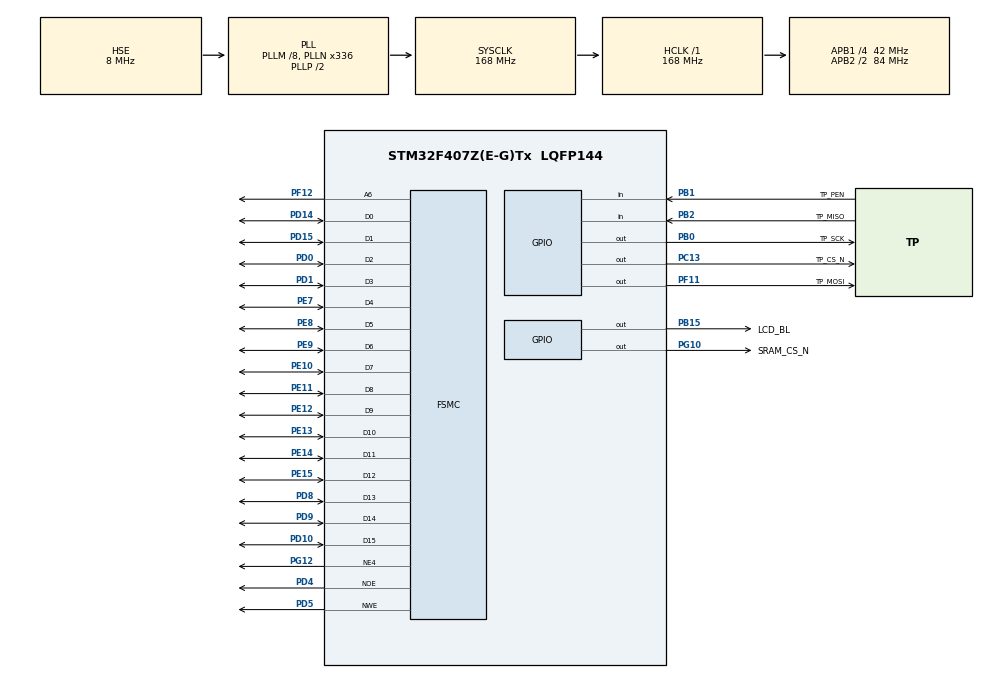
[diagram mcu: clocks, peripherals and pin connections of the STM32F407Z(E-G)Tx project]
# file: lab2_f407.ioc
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FSMC.BusTurnAroundDuration1=0
FSMC.DataSetupTime1=96
FSMC.ExtendedBusTurnAroundDuration1=0
FSMC.ExtendedDataSetupTime1=15
FSMC.ExtendedMode1=FSMC_EXTENDED_MODE_ENABLE
Mcu.Family=STM32F4
Mcu.Name=STM32F407Z(E-G)Tx
Mcu.Package=LQFP144
NVIC.PriorityGroup=NVIC_PRIORITYGROUP_4
PA13.Mode=Serial_Wire
PA13.Signal=SYS_JTMS-SWDIO
PA14.Mode=Serial_Wire
PA14.Signal=SYS_JTCK-SWCLK
PB0.GPIO_Label=TP_SCK
PB0.Signal=GPIO_Output
PB1.GPIO_Label=TP_PEN
PB1.GPIO_PuPd=GPIO_PULLUP
PB1.Signal=GPIO_Input
PB15.GPIO_Label=LCD_BL
PB15.Signal=GPIO_Output
PB2.GPIO_Label=TP_MISO
PB2.Signal=GPIO_Input
PC13-ANTI_TAMP.GPIO_Label=TP_CS_N
PC13-ANTI_TAMP.PinState=GPIO_PIN_SET
PC13-ANTI_TAMP.Signal=GPIO_Output
PD0.Signal=FSMC_D2_DA2
PD1.Signal=FSMC_D3_DA3
PD10.Signal=FSMC_D15_DA15
PD14.Signal=FSMC_D0_DA0
PD15.Signal=FSMC_D1_DA1
PD4.Signal=FSMC_NOE
PD5.Signal=FSMC_NWE
PD8.Signal=FSMC_D13_DA13
PD9.Signal=FSMC_D14_DA14
PE10.Signal=FSMC_D7_DA7
PE11.Signal=FSMC_D8_DA8
PE12.Signal=FSMC_D9_DA9
PE13.Signal=FSMC_D10_DA10
PE14.Signal=FSMC_D11_DA11
PE15.Signal=FSMC_D12_DA12
PE7.Signal=FSMC_D4_DA4
PE8.Signal=FSMC_D5_DA5
PE9.Signal=FSMC_D6_DA6
PF11.GPIO_Label=TP_MOSI
PF11.Signal=GPIO_Output
PF12.Signal=FSMC_A6
PG10.GPIO_Label=SRAM_CS_N
PG10.PinState=GPIO_PIN_SET
PG10.Signal=GPIO_Output
PG12.Mode=NorPsramChipSelect4_1
PG12.Signal=FSMC_NE4
PH0-OSC_IN.Mode=HSE-External-Oscillator
PH0-OSC_IN.Signal=RCC_OSC_IN
PH1-OSC_OUT.Mode=HSE-External-Oscillator
PH1-OSC_OUT.Signal=RCC_OSC_OUT
ProjectManager.HeapSize=0x200
ProjectManager.StackSize=0x400
ProjectManager.TargetToolchain=CMake
RCC.48MHZClocksFreq_Value=48000000
RCC.AHBFreq_Value=168000000
RCC.APB1CLKDivider=RCC_HCLK_DIV4
RCC.APB1Freq_Value=42000000
RCC.APB1TimFreq_Value=84000000
RCC.APB2CLKDivider=RCC_HCLK_DIV2
RCC.APB2Freq_Value=84000000
RCC.APB2TimFreq_Value=168000000
RCC.CortexFreq_Value=168000000
RCC.HCLKFreq_Value=168000000
RCC.HSE_VALUE=8000000
RCC.HSI_VALUE=16000000
RCC.LSE_VALUE=32768
RCC.PLLM=8
RCC.PLLN=336
RCC.PLLQ=7
RCC.PLLSourceVirtual=RCC_PLLSOURCE_HSE
RCC.SYSCLKFreq_VALUE=168000000
RCC.SYSCLKSource=RCC_SYSCLKSOURCE_PLLCLK
RCC.VCOOutputFreq_Value=336000000
SH.FSMC_A6.0=FSMC_A6,A6_1
SH.FSMC_D0_DA0.0=FSMC_D0,16b-d1
SH.FSMC_D10_DA10.0=FSMC_D10,16b-d1
SH.FSMC_D11_DA11.0=FSMC_D11,16b-d1
SH.FSMC_D12_DA12.0=FSMC_D12,16b-d1
SH.FSMC_D13_DA13.0=FSMC_D13,16b-d1
SH.FSMC_D14_DA14.0=FSMC_D14,16b-d1
SH.FSMC_D15_DA15.0=FSMC_D15,16b-d1
SH.FSMC_D1_DA1.0=FSMC_D1,16b-d1
SH.FSMC_D2_DA2.0=FSMC_D2,16b-d1
SH.FSMC_D3_DA3.0=FSMC_D3,16b-d1
SH.FSMC_D4_DA4.0=FSMC_D4,16b-d1
SH.FSMC_D5_DA5.0=FSMC_D5,16b-d1
SH.FSMC_D6_DA6.0=FSMC_D6,16b-d1
SH.FSMC_D7_DA7.0=FSMC_D7,16b-d1
SH.FSMC_D8_DA8.0=FSMC_D8,16b-d1
SH.FSMC_D9_DA9.0=FSMC_D9,16b-d1
SH.FSMC_NOE.0=FSMC_NOE,Lcd1
SH.FSMC_NWE.0=FSMC_NWE,Lcd1
board=custom

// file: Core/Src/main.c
/* USER CODE BEGIN Header */
/**
  ******************************************************************************
  * @file           : main.c
  * @brief          : Main program body
  ******************************************************************************
  * @attention
  *
  * Copyright (c) 2026 STMicroelectronics.
  * All rights reserved.
  *
  * This software is licensed under terms that can be found in the LICENSE file
  * in the root directory of this software component.
  * If no LICENSE file comes with this software, it is provided AS-IS.
  *
  ******************************************************************************
  */
/* USER CODE END Header */
#include "main.h"
#include "gpio.h"
#include "fsmc.h"

/* USER CODE BEGIN Includes */
#include "screen_app.h"
#include "business_api.h"
#include "wave_diagnostics.h"
#if defined(LAB2_ENABLE_INPUT_DEBUG)
#include "input_debug.h"
#endif

/* USER CODE END Includes */

void SystemClock_Config(void);

int main(void)
{

  /* MCU Configuration--------------------------------------------------------*/

  /* Reset of all peripherals, Initializes the Flash interface and the Systick. */
  HAL_Init();

  /* Configure the system clock */
  SystemClock_Config();

  /* Initialize all configured peripherals */
  MX_GPIO_Init();
  MX_FSMC_Init();
  /* USER CODE BEGIN 2 */
  (void)Wave_Init();
  (void)Spwm_Init();
  (void)Input_Init();
  (void)Sweep_Init();
#if defined(LAB2_ENABLE_INPUT_DEBUG)
  InputDebug_Init();
#endif
  ScreenApp_Init();

  /* USER CODE END 2 */

  /* Infinite loop */
  while (1)
  {

    /* USER CODE BEGIN 3 */
    const uint32_t now = HAL_GetTick();
    Wave_Process(now);
    Input_Process(now);
    Sweep_Process(now);
    WaveTest_Process(now);
#if defined(LAB2_ENABLE_INPUT_DEBUG)
    InputDebug_Process();
#endif
    ScreenApp_Process(HAL_GetTick());
  }
  /* USER CODE END 3 */
}

void SystemClock_Config(void)
{
  RCC_OscInitTypeDef RCC_OscInitStruct = {0};
  RCC_ClkInitTypeDef RCC_ClkInitStruct = {0};

  /** Configure the main internal regulator output voltage
  */
  __HAL_RCC_PWR_CLK_ENABLE();
  __HAL_PWR_VOLTAGESCALING_CONFIG(PWR_REGULATOR_VOLTAGE_SCALE1);

  /** Initializes the RCC Oscillators according to the specified parameters
  * in the RCC_OscInitTypeDef structure.
  */
  RCC_OscInitStruct.OscillatorType = RCC_OSCILLATORTYPE_HSE;
  RCC_OscInitStruct.HSEState = RCC_HSE_ON;
  RCC_OscInitStruct.PLL.PLLState = RCC_PLL_ON;
  RCC_OscInitStruct.PLL.PLLSource = RCC_PLLSOURCE_HSE;
  RCC_OscInitStruct.PLL.PLLM = 8;
  RCC_OscInitStruct.PLL.PLLN = 336;
  RCC_OscInitStruct.PLL.PLLP = RCC_PLLP_DIV2;
  RCC_OscInitStruct.PLL.PLLQ = 7;
  if (HAL_RCC_OscConfig(&RCC_OscInitStruct) != HAL_OK)
  {
    Error_Handler();
  }

  /** Initializes the CPU, AHB and APB buses clocks
  */
  RCC_ClkInitStruct.ClockType = RCC_CLOCKTYPE_HCLK|RCC_CLOCKTYPE_SYSCLK
                              |RCC_CLOCKTYPE_PCLK1|RCC_CLOCKTYPE_PCLK2;
  RCC_ClkInitStruct.SYSCLKSource = RCC_SYSCLKSOURCE_PLLCLK;
  RCC_ClkInitStruct.AHBCLKDivider = RCC_SYSCLK_DIV1;
  RCC_ClkInitStruct.APB1CLKDivider = RCC_HCLK_DIV4;
  RCC_ClkInitStruct.APB2CLKDivider = RCC_HCLK_DIV2;

  if (HAL_RCC_ClockConfig(&RCC_ClkInitStruct, FLASH_LATENCY_5) != HAL_OK)
  {
    Error_Handler();
  }
}

void Error_Handler(void)
{
  __disable_irq();
  while (1)
  {
  }
}
